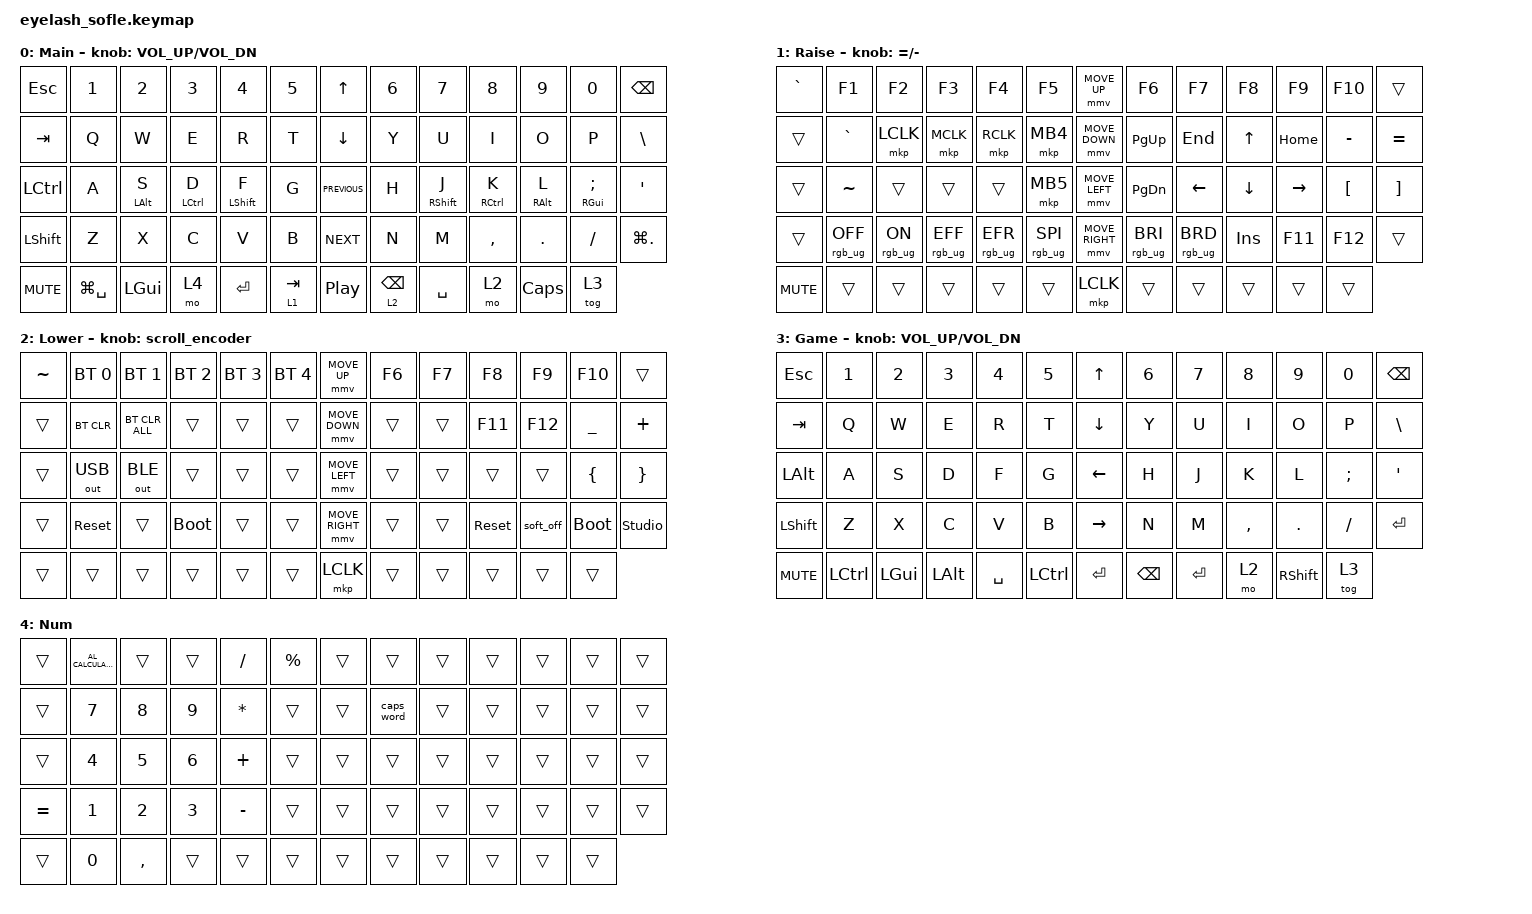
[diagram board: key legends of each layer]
#define ZMK_POINTING_DEFAULT_MOVE_VAL 1200  // 600
#define ZMK_POINTING_DEFAULT_SCRL_VAL 35    // 10

#include <input/processors.dtsi>
#include <zephyr/dt-bindings/input/input-event-codes.h>
#include <behaviors.dtsi>
#include <dt-bindings/zmk/bt.h>
#include <dt-bindings/zmk/keys.h>
#include <dt-bindings/zmk/outputs.h>
#include <dt-bindings/zmk/pointing.h>
#include <dt-bindings/zmk/rgb.h>

/ {
    zip_scroll_scaler: zip_scroll_scaler {
        compatible = "zmk,input-processor-scaler";
        #input-processor-cells = <2>;
        type = <INPUT_EV_REL>;
        codes = <INPUT_REL_WHEEL INPUT_REL_HWHEEL>;
        track-remainders;
    };
};

&mmv_input_listener { input-processors = <&zip_xy_scaler 2 1>; };

&msc_input_listener { input-processors = <&zip_scroll_scaler 2 1>; };

&msc {
    acceleration-exponent = <0>;      // 0
    time-to-max-speed-ms = <0>;       // 300
    delay-ms = <0>;                   // 0
};

&mmv {
    time-to-max-speed-ms = <400>;
    acceleration-exponent = <1>;
};

/ {
    scroll_encoder: scroll_encoder {
        compatible = "zmk,behavior-sensor-rotate";
        #sensor-binding-cells = <0>;
        bindings = <&msc SCRL_DOWN>, <&msc SCRL_UP>;

        tap-ms = <30>;
    };

    combos {
        compatible = "zmk,combos";

        Slash {
            bindings = <&kp SLASH>;
            key-positions = <44 20>;
        };

        Minus {
            bindings = <&kp MINUS>;
            key-positions = <34 35>;
        };

        Backslash {
            bindings = <&kp BACKSLASH>;
            key-positions = <18 46>;
        };

        LeftParenthesis {
            bindings = <&kp LEFT_PARENTHESIS>;
            key-positions = <31 30>;
        };

        RightPerenthesis {
            bindings = <&kp RIGHT_PARENTHESIS>;
            key-positions = <33 34>;
        };

        LeftBracket {
            bindings = <&kp LEFT_BRACKET>;
            key-positions = <17 18>;
        };

        RightBracket {
            bindings = <&kp RIGHT_BRACKET>;
            key-positions = <20 21>;
        };

        EqualPlus {
            bindings = <&kp EQUAL>;
            key-positions = <21 22>;
        };

        Backspace {
            bindings = <&kp BACKSPACE>;
            key-positions = <35 36>;
        };

        f1 {
            bindings = <&kp F1>;
            key-positions = <1 2>;
            layers = <3>;
        };

        f2 {
            bindings = <&kp F2>;
            key-positions = <1 3>;
            layers = <3>;
        };

        f3 {
            bindings = <&kp F3>;
            key-positions = <4 1>;
            layers = <3>;
        };

        f4 {
            bindings = <&kp F4>;
            key-positions = <1 5>;
            layers = <3>;
        };

        f5 {
            bindings = <&kp F5>;
            key-positions = <2 3>;
            layers = <3>;
        };

        f6 {
            bindings = <&kp F6>;
            key-positions = <2 4>;
            layers = <3>;
        };

        f7 {
            bindings = <&kp F7>;
            key-positions = <2 5>;
            layers = <3>;
        };

        f8 {
            bindings = <&kp F8>;
            key-positions = <3 4>;
            layers = <3>;
        };

        f9 {
            bindings = <&kp F9>;
            key-positions = <3 5>;
            layers = <3>;
        };

        f10 {
            bindings = <&kp F10>;
            key-positions = <4 5>;
            layers = <3>;
        };

        f11 {
            bindings = <&kp F11>;
            key-positions = <7 8>;
            layers = <3>;
        };

        f12 {
            bindings = <&kp F12>;
            key-positions = <7 9>;
            layers = <3>;
        };

        Copy {
            bindings = <&kp LC(C)>;
            key-positions = <17 16>;
            layers = <0>;
        };

        Paste {
            bindings = <&kp LC(V)>;
            key-positions = <43 42>;
            layers = <0>;
        };

        AltTab {
            bindings = <&kp LG(TAB)>;
            key-positions = <0 1>;
        };

        Desktop {
            bindings = <&kp LG(D)>;
            key-positions = <53 54>;
            layers = <0>;
        };

        Move_to_Next_Monitor {
            bindings = <&kp LG(LS(LEFT_ARROW))>;
            key-positions = <63 62>;
        };

        Task_Manager {
            bindings = <&kp LC(LS(ESCAPE))>;
            key-positions = <51 50>;
        };

        Ctrl-Alt-Delete {
            bindings = <&kp LC(LA(DELETE))>;
            key-positions = <12 11>;
        };

        Delete {
            bindings = <&kp DELETE>;
            key-positions = <22 23>;
        };

        Left_Brace {
            bindings = <&kp LBRC>;
            key-positions = <43 44>;
        };

        Right_Brace {
            bindings = <&kp RIGHT_BRACE>;
            key-positions = <46 47>;
        };
    };

    behaviors {
    };

    keymap {
        compatible = "zmk,keymap";

        Main {
            bindings = <
&kp ESC     &kp N1         &kp N2          &kp N3       &kp N4            &kp N5       &kp UP_ARROW      &kp N6           &kp N7             &kp N8       &kp N9           &kp N0                   &kp BACKSPACE
&kp TAB     &kp Q          &kp W           &kp E        &kp R             &kp T        &kp DOWN_ARROW    &kp Y            &kp U              &kp I        &kp O            &kp P                    &kp BSLH
&kp LCTRL   &kp A          &mt LEFT_ALT S  &mt LCTRL D  &mt LEFT_SHIFT F  &kp G        &kp C_PREVIOUS    &kp H            &mt RIGHT_SHIFT J  &mt RCTRL K  &mt RIGHT_ALT L  &mt RIGHT_GUI SEMICOLON  &kp APOS
&kp LSHFT   &kp Z          &kp X           &kp C        &kp V             &kp B        &kp C_NEXT        &kp N            &kp M              &kp COMMA    &kp DOT          &kp FSLH                 &kp LG(PERIOD)
&kp C_MUTE  &kp LG(SPACE)  &kp LEFT_GUI    &mo 4        &kp ENTER         &lt 1 TAB    &kp C_PLAY_PAUSE  &lt 2 BACKSPACE  &kp SPACE          &mo 2        &kp CAPS         &tog 3
            >;

            sensor-bindings = <&inc_dec_kp C_VOLUME_UP C_VOL_DN>;
            display-name = "Main";
        };

        Raise {
            bindings = <
&kp GRAVE   &kp F1           &kp F2          &kp F3           &kp F4           &kp F5             &mmv MOVE_UP     &kp F6           &kp F7           &kp F8      &kp F9     &kp F10           &trans
&trans      &kp GRAVE        &mkp LCLK       &mkp MCLK        &mkp RCLK        &mkp MB4           &mmv MOVE_DOWN   &kp PG_UP        &kp END          &kp UP      &kp HOME   &kp MINUS         &kp EQUAL
&trans      &kp TILDE        &trans          &trans           &trans           &mkp MB5           &mmv MOVE_LEFT   &kp PG_DN        &kp LEFT         &kp DOWN    &kp RIGHT  &kp LEFT_BRACKET  &kp RIGHT_BRACKET
&trans      &rgb_ug RGB_OFF  &rgb_ug RGB_ON  &rgb_ug RGB_EFF  &rgb_ug RGB_EFR  &rgb_ug RGB_SPI    &mmv MOVE_RIGHT  &rgb_ug RGB_BRI  &rgb_ug RGB_BRD  &kp INSERT  &kp F11    &kp F12           &trans
&kp C_MUTE  &trans           &trans          &trans           &trans           &trans             &mkp LCLK        &trans           &trans           &trans      &trans     &trans
            >;

            display-name = "Raise";
            sensor-bindings = <&inc_dec_kp EQUAL MINUS>;
        };

        Lower {
            bindings = <
&kp TILDE  &bt BT_SEL 0  &bt BT_SEL 1    &bt BT_SEL 2  &bt BT_SEL 3  &bt BT_SEL 4    &mmv MOVE_UP     &kp F6  &kp F7  &kp F8      &kp F9     &kp F10      &trans
&trans     &bt BT_CLR    &bt BT_CLR_ALL  &trans        &trans        &trans          &mmv MOVE_DOWN   &trans  &trans  &kp F11     &kp F12    &kp UNDER    &kp PLUS
&trans     &out OUT_USB  &out OUT_BLE    &trans        &trans        &trans          &mmv MOVE_LEFT   &trans  &trans  &trans      &trans     &kp LBRC     &kp RBRC
&trans     &sys_reset    &trans          &bootloader   &trans        &trans          &mmv MOVE_RIGHT  &trans  &trans  &sys_reset  &soft_off  &bootloader  &studio_unlock
&trans     &trans        &trans          &trans        &trans        &trans          &mkp LCLK        &trans  &trans  &trans      &trans     &trans
            >;

            sensor-bindings = <&scroll_encoder>;
            label = "Lower";
        };

        Gaming {
            display-name = "Game";
            bindings = <
&kp ESC       &kp N1     &kp N2        &kp N3        &kp N4     &kp N5       &kp UP_ARROW     &kp N6         &kp N7     &kp N8     &kp N9           &kp N0         &kp BACKSPACE
&kp TAB       &kp Q      &kp W         &kp E         &kp R      &kp T        &kp DOWN_ARROW   &kp Y          &kp U      &kp I      &kp O            &kp P          &kp BSLH
&kp LEFT_ALT  &kp A      &kp S         &kp D         &kp F      &kp G        &kp LEFT_ARROW   &kp H          &kp J      &kp K      &kp L            &kp SEMICOLON  &kp APOS
&kp LSHFT     &kp Z      &kp X         &kp C         &kp V      &kp B        &kp RIGHT_ARROW  &kp N          &kp M      &kp COMMA  &kp DOT          &kp FSLH       &kp ENTER
&kp C_MUTE    &kp LCTRL  &kp LEFT_GUI  &kp LEFT_ALT  &kp SPACE  &kp LCTRL    &kp ENTER        &kp BACKSPACE  &kp ENTER  &mo 2      &kp RIGHT_SHIFT  &tog 3
            >;

            sensor-bindings = <&inc_dec_kp C_VOLUME_UP C_VOL_DN>;
        };

        Numbers {
            bindings = <
&trans     &kp C_AL_CALCULATOR  &trans        &trans        &kp SLASH     &kp PERCENT    &trans  &trans      &trans  &trans  &trans  &trans  &trans
&trans     &kp NUMBER_7         &kp NUMBER_8  &kp NUMBER_9  &kp ASTERISK  &trans         &trans  &caps_word  &trans  &trans  &trans  &trans  &trans
&trans     &kp NUMBER_4         &kp NUMBER_5  &kp NUMBER_6  &kp PLUS      &trans         &trans  &trans      &trans  &trans  &trans  &trans  &trans
&kp EQUAL  &kp NUMBER_1         &kp NUMBER_2  &kp NUMBER_3  &kp MINUS     &trans         &trans  &trans      &trans  &trans  &trans  &trans  &trans
&trans     &kp NUMBER_0         &kp COMMA     &trans        &trans        &trans         &trans  &trans      &trans  &trans  &trans  &trans
            >;

            label = "Num";
        };
    };
};
